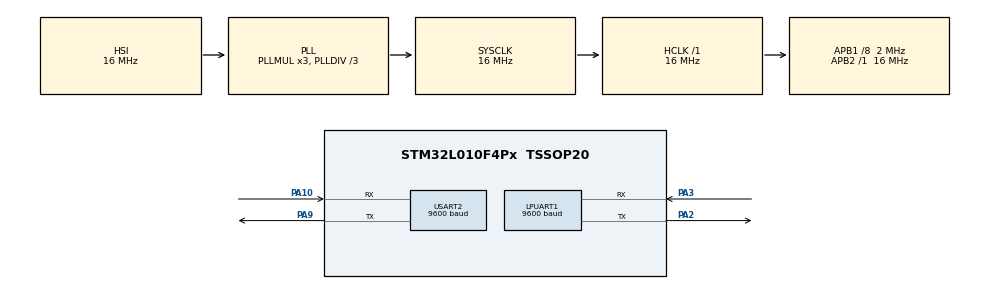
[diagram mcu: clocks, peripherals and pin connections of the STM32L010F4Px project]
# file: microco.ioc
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LPUART1.BaudRate=9600
LPUART1.OneBitSampling=UART_ONE_BIT_SAMPLE_DISABLE
LPUART1.WordLength=UART_WORDLENGTH_8B
Mcu.Family=STM32L0
Mcu.Name=STM32L010F4Px
Mcu.Package=TSSOP20
NVIC.LPUART1_IRQn=true\:0\:0\:false\:false\:true\:true\:true\:true
NVIC.USART2_IRQn=true\:0\:0\:false\:false\:true\:true\:true\:true
PA10.Mode=Asynchronous
PA10.Signal=USART2_RX
PA2.Mode=Asynchronous
PA2.Signal=LPUART1_TX
PA3.Mode=Asynchronous
PA3.Signal=LPUART1_RX
PA9.Mode=Asynchronous
PA9.Signal=USART2_TX
ProjectManager.HeapSize=0x000
ProjectManager.StackSize=0x200
ProjectManager.TargetToolchain=STM32CubeIDE
RCC.AHBFreq_Value=16000000
RCC.APB1CLKDivider=RCC_HCLK_DIV8
RCC.APB1Freq_Value=2000000
RCC.APB1TimFreq_Value=4000000
RCC.APB2Freq_Value=16000000
RCC.APB2TimFreq_Value=16000000
RCC.HCLKFreq_Value=16000000
RCC.HSE_VALUE=8000000
RCC.HSI16_VALUE=16000000
RCC.HSI_VALUE=16000000
RCC.LSE_VALUE=32768
RCC.MSI_VALUE=2097000
RCC.PLLDIV=RCC_PLLDIV_3
RCC.SYSCLKFreq_VALUE=16000000
RCC.SYSCLKSource=RCC_SYSCLKSOURCE_PLLCLK
RCC.VCOOutputFreq_Value=48000000
USART2.BaudRate=9600
USART2.OverSampling=UART_OVERSAMPLING_8
USART2.VirtualMode=VM_ASYNC
board=custom

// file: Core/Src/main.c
/* USER CODE BEGIN Header */
/**
  ******************************************************************************
  * @file           : main.c
  * @brief          : Main program body
  ******************************************************************************
  * @attention
  *
  * Copyright (c) 2025 STMicroelectronics.
  * All rights reserved.
  *
  * This software is licensed under terms that can be found in the LICENSE file
  * in the root directory of this software component.
  * If no LICENSE file comes with this software, it is provided AS-IS.
  *
  ******************************************************************************
  */
/* USER CODE END Header */
#include "main.h"

/* USER CODE BEGIN Includes */

#include <stdint.h>
#include <stdbool.h>
#include "microco.h"

/* USER CODE END Includes */

UART_HandleTypeDef hlpuart1;
UART_HandleTypeDef huart2;

void SystemClock_Config(void);
static void MX_GPIO_Init(void);
static void MX_USART2_UART_Init(void);
static void MX_LPUART1_UART_Init(void);

/* USER CODE BEGIN 0 */

typedef struct {
    co_t    * toResume; // Coroutine to resume after sending is done
    bool    isBusy;     // Indicates if a send operation is already in progress
} ToSend;

typedef struct {
    uint32_t timeout;
    co_t    * toResume; // Coroutine to resume after receiving is done
    bool    isBusy;     // Indicates if a receive operation is already in progress
} ToReceive;

ToSend toSendUart2 = {0,};
ToSend toSendLpuart1 = {0,};
ToReceive toReceiveUart2 = {0,};

static uint8_t BSP_UART_Send(uint8_t * buffer, size_t len) {
    if (!toSendUart2.isBusy) {
        toSendUart2.isBusy = true;
        toSendUart2.toResume = co_current();

        HAL_UART_Transmit_IT(&huart2, buffer, len);
        co_yield();
        return 0;
    }
    else {
        return 1; // Busy
    }
}

static uint8_t BSP_UART_Receive(uint8_t * buffer, size_t len, uint32_t timeout) {
    if (!toReceiveUart2.isBusy) {
        toReceiveUart2.isBusy = true;
        toReceiveUart2.timeout = timeout;
        toReceiveUart2.toResume = co_current();

        HAL_UART_Receive_IT(&huart2, buffer, len);
        co_yield();
        return 0;
    }
    else {
        // Busy
        return 1;
    }
}

static uint8_t BSP_LPUART_Send(uint8_t * buffer, size_t len) {
    if (!toSendLpuart1.isBusy) {
        toSendLpuart1.isBusy = true;
        toSendLpuart1.toResume = co_current();

        HAL_UART_Transmit_IT(&hlpuart1, buffer, len);
        co_yield();
        return 0;
    }
    else {
        // Busy
        return 1;
    }
}

static co_t co1;
static co_t co2;

static uint32_t stack1[32] __attribute__((aligned(8)));  // 128 bytes
static uint32_t stack2[32] __attribute__((aligned(8)));  // 128 bytes

static void worker1() {
    for (int i = 0; i < 500; ++i) {
        BSP_LPUART_Send((uint8_t *)"worker1\n", 8);
        co_sleep(1000);
    }
}

static void worker2() {
    for (int i = 0; i < 500; ++i) {
        static uint8_t buffer[8];
        BSP_UART_Receive(buffer, sizeof(buffer), 1000);
        BSP_UART_Send(buffer, sizeof(buffer));
    }
}

/* USER CODE END 0 */

int main(void)
{

  /* MCU Configuration--------------------------------------------------------*/

  /* Reset of all peripherals, Initializes the Flash interface and the Systick. */
  HAL_Init();

  /* Configure the system clock */
  SystemClock_Config();

  /* Initialize all configured peripherals */
  MX_GPIO_Init();
  MX_USART2_UART_Init();
  MX_LPUART1_UART_Init();
  /* USER CODE BEGIN 2 */

    // Workaround for spurious byte received at boot. Flush any data.
    while (HAL_UART_Receive(&huart2, (uint8_t *)stack1, 1, 10) == HAL_OK) {

    }

    co_init(&co1, stack1, sizeof(stack1), worker1);
    co_init(&co2, stack2, sizeof(stack2), worker2);

    co_resume(&co1);
    co_resume(&co2);

  /* USER CODE END 2 */

  /* Infinite loop */
  while (1)
  {

    // Loop iteration to allow for features like sleep or resume from interrupt
    co_loop();

  }
}

void SystemClock_Config(void)
{
  RCC_OscInitTypeDef RCC_OscInitStruct = {0};
  RCC_ClkInitTypeDef RCC_ClkInitStruct = {0};
  RCC_PeriphCLKInitTypeDef PeriphClkInit = {0};

  /** Configure the main internal regulator output voltage
  */
  __HAL_PWR_VOLTAGESCALING_CONFIG(PWR_REGULATOR_VOLTAGE_SCALE1);

  /** Initializes the RCC Oscillators according to the specified parameters
  * in the RCC_OscInitTypeDef structure.
  */
  RCC_OscInitStruct.OscillatorType = RCC_OSCILLATORTYPE_HSI;
  RCC_OscInitStruct.HSIState = RCC_HSI_ON;
  RCC_OscInitStruct.HSICalibrationValue = RCC_HSICALIBRATION_DEFAULT;
  RCC_OscInitStruct.PLL.PLLState = RCC_PLL_ON;
  RCC_OscInitStruct.PLL.PLLSource = RCC_PLLSOURCE_HSI;
  RCC_OscInitStruct.PLL.PLLMUL = RCC_PLLMUL_3;
  RCC_OscInitStruct.PLL.PLLDIV = RCC_PLLDIV_3;
  if (HAL_RCC_OscConfig(&RCC_OscInitStruct) != HAL_OK)
  {
    Error_Handler();
  }

  /** Initializes the CPU, AHB and APB buses clocks
  */
  RCC_ClkInitStruct.ClockType = RCC_CLOCKTYPE_HCLK|RCC_CLOCKTYPE_SYSCLK
                              |RCC_CLOCKTYPE_PCLK1|RCC_CLOCKTYPE_PCLK2;
  RCC_ClkInitStruct.SYSCLKSource = RCC_SYSCLKSOURCE_PLLCLK;
  RCC_ClkInitStruct.AHBCLKDivider = RCC_SYSCLK_DIV1;
  RCC_ClkInitStruct.APB1CLKDivider = RCC_HCLK_DIV8;
  RCC_ClkInitStruct.APB2CLKDivider = RCC_HCLK_DIV1;

  if (HAL_RCC_ClockConfig(&RCC_ClkInitStruct, FLASH_LATENCY_0) != HAL_OK)
  {
    Error_Handler();
  }
  PeriphClkInit.PeriphClockSelection = RCC_PERIPHCLK_USART2|RCC_PERIPHCLK_LPUART1;
  PeriphClkInit.Usart2ClockSelection = RCC_USART2CLKSOURCE_PCLK1;
  PeriphClkInit.Lpuart1ClockSelection = RCC_LPUART1CLKSOURCE_PCLK1;
  if (HAL_RCCEx_PeriphCLKConfig(&PeriphClkInit) != HAL_OK)
  {
    Error_Handler();
  }
}

static void MX_LPUART1_UART_Init(void)
{

  hlpuart1.Instance = LPUART1;
  hlpuart1.Init.BaudRate = 9600;
  hlpuart1.Init.WordLength = UART_WORDLENGTH_8B;
  hlpuart1.Init.StopBits = UART_STOPBITS_1;
  hlpuart1.Init.Parity = UART_PARITY_NONE;
  hlpuart1.Init.Mode = UART_MODE_TX_RX;
  hlpuart1.Init.HwFlowCtl = UART_HWCONTROL_NONE;
  hlpuart1.Init.OneBitSampling = UART_ONE_BIT_SAMPLE_DISABLE;
  hlpuart1.AdvancedInit.AdvFeatureInit = UART_ADVFEATURE_NO_INIT;
  if (HAL_UART_Init(&hlpuart1) != HAL_OK)
  {
    Error_Handler();
  }

}

static void MX_USART2_UART_Init(void)
{

  huart2.Instance = USART2;
  huart2.Init.BaudRate = 9600;
  huart2.Init.WordLength = UART_WORDLENGTH_8B;
  huart2.Init.StopBits = UART_STOPBITS_1;
  huart2.Init.Parity = UART_PARITY_NONE;
  huart2.Init.Mode = UART_MODE_TX_RX;
  huart2.Init.HwFlowCtl = UART_HWCONTROL_NONE;
  huart2.Init.OverSampling = UART_OVERSAMPLING_8;
  huart2.Init.OneBitSampling = UART_ONE_BIT_SAMPLE_DISABLE;
  huart2.AdvancedInit.AdvFeatureInit = UART_ADVFEATURE_NO_INIT;
  if (HAL_UART_Init(&huart2) != HAL_OK)
  {
    Error_Handler();
  }

}

static void MX_GPIO_Init(void)
{

  /* GPIO Ports Clock Enable */
  __HAL_RCC_GPIOA_CLK_ENABLE();

}

/* USER CODE BEGIN 4 */

void HAL_UART_RxCpltCallback(UART_HandleTypeDef *huart)
{
	if (huart == &hlpuart1)
	{
        // Not used
	}
	else if (huart == &huart2)
	{
		if (toReceiveUart2.isBusy)
		{
			toReceiveUart2.isBusy = false;
			if (toReceiveUart2.toResume != NULL)
			{
				co_resume(toReceiveUart2.toResume);
			}
		}
	}
}

void HAL_UART_TxCpltCallback(UART_HandleTypeDef *huart)
{
	if (huart == &hlpuart1)
	{
        if (toSendLpuart1.isBusy)
        {
        	toSendLpuart1.isBusy = false;
            if (toSendLpuart1.toResume != NULL)
        	{
        		co_resume(toSendLpuart1.toResume);
        	}
        }
    }
    else if (huart == &huart2)
	{
		if (toSendUart2.isBusy)
        {
            toSendUart2.isBusy = false;
            if (toSendUart2.toResume != NULL)
            {
                co_resume(toSendUart2.toResume);
            }
        }
	}
}

void HAL_UART_ErrorCallback(UART_HandleTypeDef *huart)
{
    volatile uint32_t error = HAL_UART_GetError(huart);
}
/* USER CODE END 4 */

void Error_Handler(void)
{
  __disable_irq();
  while (1)
  {
  }
}
